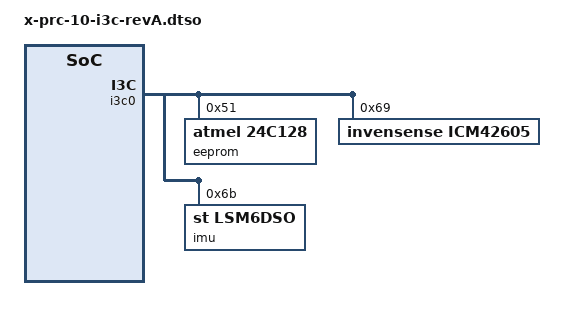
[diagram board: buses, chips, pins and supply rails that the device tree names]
// SPDX-License-Identifier: GPL-2.0
/*
 * dts file for AMD Versal Gen 2 (Palmyra) X-PRC-10 RevA with I3C enabled
 *
 * (C) Copyright 2025, Advanced Micro Devices, Inc.
 *
 * Manikanta Guntupalli <manikanta.guntupalli@amd.com>;
 */

#include "x-prc-10-revA.dtso"

&{/} {
	model = "X-PRC-10 i3c revA";
};

&i2c0 {
	status = "disabled";
};

&i2c1 {
	status = "disabled";
};

&i3c0 { /* LPD_MIO18-19 */
	status = "okay";
	#address-cells = <3>;
	#size-cells = <0>;

	eeprom: eeprom@51 { /* u45 */
		compatible = "atmel,24c128";
		reg = <0x51 0 0x10>;
	};

	/* icm-42605 - missing i3c driver
	drivers/iio/imu/inv_icm42600/inv_icm42600_i2c.c */
	icm42605@69 { /* u119 */
		compatible = "invensense,icm42605";
		reg = <0x69 0x46a 0x00>;
	};

	imu@6b { /* u120 */
		compatible = "st,lsm6dso";
		reg = <0x6b 0x208 0x6c100b>;
	};
};
